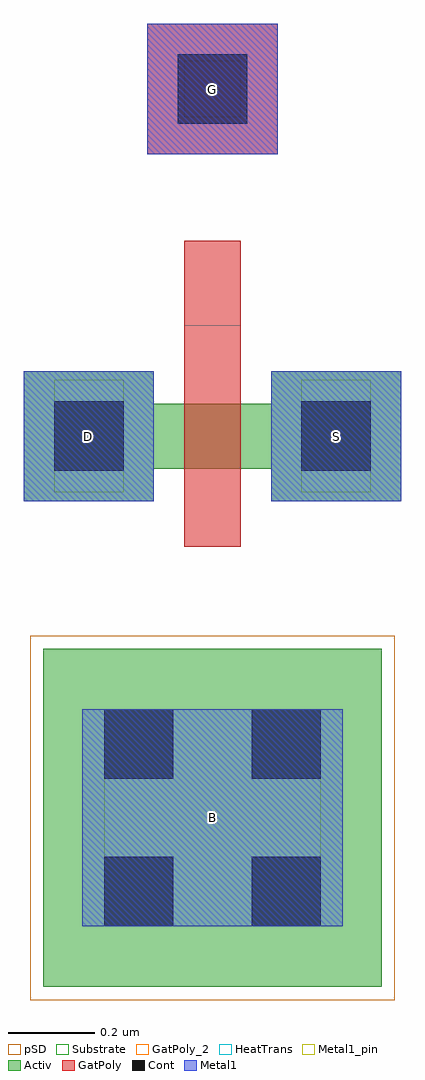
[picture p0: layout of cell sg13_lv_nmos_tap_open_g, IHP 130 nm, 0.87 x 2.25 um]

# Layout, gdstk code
from math import pi, radians
import gdstk
lib = gdstk.Library(unit=1e-6, precision=5e-09)
def R(c, l, rs):  # rectangles x0, y0, x1, y1
    for r in rs: c.add(gdstk.rectangle(r[:2], r[2:], *l))
Activ = (1, 0)
GatPoly = (5, 0)
GatPoly_2 = (5, 2)
Cont = (6, 0)
Metal1 = (8, 0)
Metal1_pin = (8, 2)
pSD = (14, 0)
Substrate = (40, 0)
HeatTrans = (51, 0)

nmos = lib.new_cell('nmos')
R(nmos, Activ, [(0,0,0.3,0.3), (0.57,0,0.87,0.3), (0,0.075,0.87,0.225)])
R(nmos, GatPoly, [(0.37,-0.105,0.5,0.405)])
R(nmos, GatPoly_2, [(0.37,-0.105,0.5,0.405)])
R(nmos, Cont, [(0.07,0.07,0.23,0.23), (0.64,0.07,0.8,0.23)])
R(nmos, Metal1, [(0.07,0.02,0.23,0.28), (0.64,0.02,0.8,0.28)])
R(nmos, Metal1_pin, [(0.07,0.02,0.23,0.28), (0.64,0.02,0.8,0.28)])
R(nmos, HeatTrans, [(0.37,-0.105,0.5,0.405)])
nmos.add(gdstk.Label('nmos', (0.435,0.15), layer=63, texttype=0))
nmos.add(gdstk.Label('nmos', (0.435,0.15), layer=51, texttype=0))

ptap1 = lib.new_cell('ptap1')
R(ptap1, Activ, [(0,0,0.78,0.78)])
R(ptap1, Cont, [(0.14,0.14,0.3,0.3), (0.48,0.14,0.64,0.3), (0.14,0.48,0.3,0.64), (0.48,0.48,0.64,0.64)])
R(ptap1, Metal1, [(0.14,0.09,0.64,0.69), (0.14,0.14,0.64,0.64)])
R(ptap1, Metal1_pin, [(0.14,0.14,0.64,0.64)])
R(ptap1, pSD, [(-0.03,-0.03,0.81,0.81)])
R(ptap1, Substrate, [(0,0,0.78,0.78)])
ptap1.add(gdstk.Label('sub!', (0.39,0.01), layer=63, texttype=0))
ptap1.add(gdstk.Label('sub!', (0.39,0.01), layer=40, texttype=0))

via = lib.new_cell('Via')
R(via, GatPoly, [(-0.15,-0.15,0.15,0.15)])
R(via, Cont, [(-0.08,-0.08,0.08,0.08)])
R(via, Metal1, [(-0.13,-0.08,0.13,0.08)])

sg13_lv_nmos_tap_open_g = lib.new_cell('sg13_lv_nmos_tap_open_g')
R(sg13_lv_nmos_tap_open_g, GatPoly, [(0.37,0.405,0.5,0.6)])
R(sg13_lv_nmos_tap_open_g, Metal1, [(0,0,0.3,0.3), (0.57,0,0.87,0.3), (0.285,0.8,0.585,1.1)])
R(sg13_lv_nmos_tap_open_g, Metal1_pin, [(0.37,-0.795,0.5,-0.665), (0.085,0.085,0.215,0.215), (0.655,0.085,0.785,0.215), (0.37,0.885,0.5,1.015)])
sg13_lv_nmos_tap_open_g.add(gdstk.Reference(nmos, (0,0)))
sg13_lv_nmos_tap_open_g.add(gdstk.Reference(ptap1, (0.045,-0.34), rotation=3*pi/2))
sg13_lv_nmos_tap_open_g.add(gdstk.Reference(via, (0.435,0.95), rotation=3*pi/2))
sg13_lv_nmos_tap_open_g.add(gdstk.Label('G', (0.435,0.95), layer=8, texttype=25))
sg13_lv_nmos_tap_open_g.add(gdstk.Label('B', (0.435,-0.73), layer=8, texttype=25))
sg13_lv_nmos_tap_open_g.add(gdstk.Label('D', (0.15,0.15), layer=8, texttype=25))
sg13_lv_nmos_tap_open_g.add(gdstk.Label('S', (0.72,0.15), layer=8, texttype=25))

lib.write_gds('sg13_lv_nmos_tap_open_g.gds')
